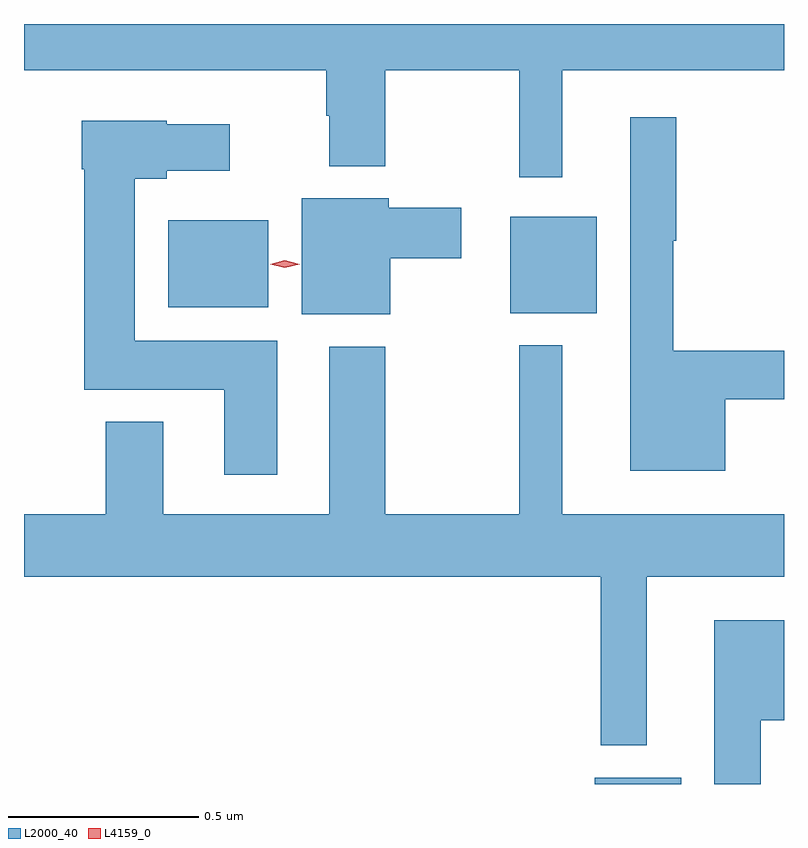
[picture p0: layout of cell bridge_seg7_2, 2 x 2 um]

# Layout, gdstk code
import gdstk
lib = gdstk.Library(unit=1e-6, precision=1e-09)
def R(c, l, rs):  # rectangles x0, y0, x1, y1
    for r in rs: c.add(gdstk.rectangle(r[:2], r[2:], *l))
def P(c, l, *ps):  # polygons
    for p in ps: c.add(gdstk.Polygon(p, *l))
L2000_40 = (2000, 40)
L4159_0 = (4159, 0)

bridge_seg7_2 = lib.new_cell('bridge_seg7_2')
R(bridge_seg7_2, L2000_40, [(1037.6,1060.01,1037.827,1060.027), (1037.378,1061.249,1037.605,1061.503), (1036.478,1061.264,1036.741,1061.494)])
P(bridge_seg7_2, L2000_40, [(1037.515,1061.888),(1038.098,1061.888),(1038.098,1062.01),(1036.098,1062.01),(1036.098,1061.888),(1036.894,1061.888),(1036.894,1061.768),(1036.901,1061.768),(1036.901,1061.636),(1037.049,1061.636),(1037.049,1061.888),(1037.401,1061.888),(1037.401,1061.607),(1037.515,1061.607)],
  [(1037.944,1061.022),(1038.098,1061.022),(1038.098,1061.15),(1037.807,1061.15),(1037.807,1061.439),(1037.815,1061.439),(1037.815,1061.764),(1037.693,1061.764),(1037.693,1060.835),(1037.944,1060.835)],
  [(1036.765,1061.176),(1036.39,1061.176),(1036.39,1061.603),(1036.473,1061.603),(1036.473,1061.624),(1036.639,1061.624),(1036.639,1061.746),(1036.473,1061.746),(1036.473,1061.755),(1036.25,1061.755),(1036.25,1061.628),(1036.256,1061.628),(1036.256,1061.048),(1036.625,1061.048),(1036.625,1060.824),(1036.765,1060.824)],
  [(1037.062,1061.393),(1037.248,1061.393),(1037.248,1061.527),(1037.058,1061.527),(1037.058,1061.551),(1036.829,1061.551),(1036.829,1061.246),(1037.062,1061.246)],
  [(1037.737,1060.556),(1038.098,1060.556),(1038.098,1060.72),(1037.515,1060.72),(1037.515,1061.164),(1037.401,1061.164),(1037.401,1060.72),(1037.049,1060.72),(1037.049,1061.161),(1036.901,1061.161),(1036.901,1060.72),(1036.465,1060.72),(1036.465,1060.963),(1036.313,1060.963),(1036.313,1060.72),(1036.098,1060.72),(1036.098,1060.556),(1037.616,1060.556),(1037.616,1060.112),(1037.737,1060.112)],
  [(1038.037,1060.178),(1038.098,1060.178),(1038.098,1060.441),(1037.915,1060.441),(1037.915,1060.01),(1038.037,1060.01)])
P(bridge_seg7_2, L4159_0, [(1036.784,1061.368),(1036.746,1061.378),(1036.746,1061.378),(1036.746,1061.378),(1036.784,1061.388),(1036.823,1061.378),(1036.823,1061.378),(1036.823,1061.378)])

lib.write_gds('bridge_seg7_2.gds')
